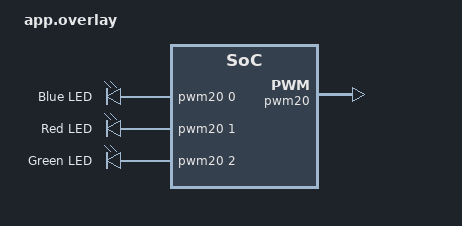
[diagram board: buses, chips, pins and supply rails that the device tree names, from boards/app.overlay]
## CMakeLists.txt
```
cmake_minimum_required(VERSION 3.20.0)
find_package(Zephyr REQUIRED HINTS $ENV{ZEPHYR_BASE})

project(led_pwm_multicolour)

target_sources(app PRIVATE src/main.c)
```

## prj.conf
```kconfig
CONFIG_GPIO=y
CONFIG_PWM=y
CONFIG_SERIAL=n
```

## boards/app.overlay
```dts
/*
 * Device tree overlay for XIAO nRF54LM20A RGB LED PWM demo.
 *
 * PWM20 peripheral is used for RGB LED control:
 *   - Channel 0: P1.22 (Blue LED)  -> pwm_led0
 *   - Channel 1: P1.23 (Red LED)   -> pwm_led1
 *   - Channel 2: P1.24 (Green LED) -> pwm_led2
 */

&pwm20 {
	status = "okay";
};

/ {
	pwmleds {
		compatible = "pwm-leds";

		pwm_led0: pwm_led_0 {
			pwms = <&pwm20 0 PWM_MSEC(20) PWM_POLARITY_NORMAL>;
			label = "Blue LED";
		};

		pwm_led1: pwm_led_1 {
			pwms = <&pwm20 1 PWM_MSEC(20) PWM_POLARITY_NORMAL>;
			label = "Red LED";
		};

		pwm_led2: pwm_led_2 {
			pwms = <&pwm20 2 PWM_MSEC(20) PWM_POLARITY_NORMAL>;
			label = "Green LED";
		};
	};
};

/ {
	aliases {
		pwm-led0 = &pwm_led0;
		pwm-led1 = &pwm_led1;
		pwm-led2 = &pwm_led2;
	};
};
```

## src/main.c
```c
/*
 * Copyright (c) 2016 Intel Corporation
 *
 * SPDX-License-Identifier: Apache-2.0
 */

#include <zephyr/kernel.h>
#include <zephyr/device.h>
#include <zephyr/drivers/pwm.h>
#include <nrfx_power.h>

#define PWM_PERIOD_NS 1000000U
#define STEP_TIME_MS 500

#define LED_R_NODE DT_ALIAS(pwm_led1)
#define LED_G_NODE DT_ALIAS(pwm_led2)
#define LED_B_NODE DT_ALIAS(pwm_led0)

#if !DT_NODE_EXISTS(LED_R_NODE) || !DT_NODE_EXISTS(LED_G_NODE) || !DT_NODE_EXISTS(LED_B_NODE)
#error "This RGB blink demo expects pwm-led0/pwm-led1/pwm-led2 devicetree aliases"
#endif

static const struct pwm_dt_spec led_r = PWM_DT_SPEC_GET(LED_R_NODE);
static const struct pwm_dt_spec led_g = PWM_DT_SPEC_GET(LED_G_NODE);
static const struct pwm_dt_spec led_b = PWM_DT_SPEC_GET(LED_B_NODE);

struct rgb_step {
	uint8_t r;
	uint8_t g;
	uint8_t b;
	uint32_t delay_ms;
};

static int pwm_set_u8(const struct pwm_dt_spec *led, uint8_t level)
{
	uint32_t duty_ns = (PWM_PERIOD_NS * (uint32_t)level) / 255U;

	return pwm_set_dt(led, PWM_PERIOD_NS, duty_ns);
}

static int rgb_set(uint8_t r, uint8_t g, uint8_t b)
{
	int ret;

	ret = pwm_set_u8(&led_r, r);
	if (ret < 0) {
		return ret;
	}

	ret = pwm_set_u8(&led_g, g);
	if (ret < 0) {
		return ret;
	}

	ret = pwm_set_u8(&led_b, b);
	if (ret < 0) {
		return ret;
	}

	return 0;
}

int main(void)
{
	int ret;

#if defined(CONFIG_NRFX_POWER)
	nrfx_power_constlat_mode_request();
#endif

	if (!device_is_ready(led_r.dev) || !device_is_ready(led_g.dev) || !device_is_ready(led_b.dev)) {
		return -1;
	}

	static const struct rgb_step demo[] = {
		{ 255, 0, 0, STEP_TIME_MS },
		{ 0, 255, 0, STEP_TIME_MS },
		{ 0, 0, 255, STEP_TIME_MS },
		{ 255, 255, 0, STEP_TIME_MS },
		{ 0, 255, 255, STEP_TIME_MS },
		{ 255, 0, 255, STEP_TIME_MS },
		{ 255, 255, 255, STEP_TIME_MS },
		{ 0, 0, 0, STEP_TIME_MS },
	};

	while (1) {
		for (size_t i = 0; i < ARRAY_SIZE(demo); i++) {
			ret = rgb_set(demo[i].r, demo[i].g, demo[i].b);
			if (ret < 0) {
				return ret;
			}
			k_msleep(demo[i].delay_ms);
		}
	}

	return 0;
}
```
